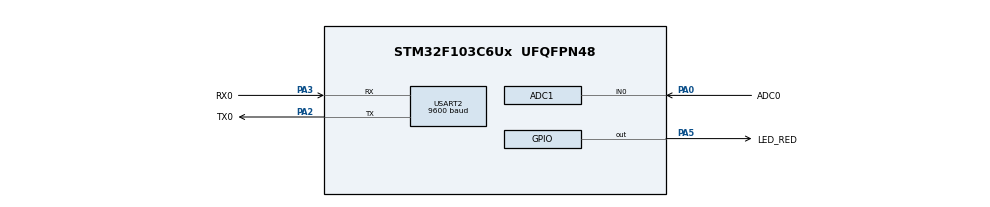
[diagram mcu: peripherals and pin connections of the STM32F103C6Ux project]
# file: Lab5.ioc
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ADC1.Channel-0\#ChannelRegularConversion=ADC_CHANNEL_0
ADC1.ContinuousConvMode=ENABLE
ADC1.NbrOfConversionFlag=1
ADC1.Rank-0\#ChannelRegularConversion=1
ADC1.SamplingTime-0\#ChannelRegularConversion=ADC_SAMPLETIME_1CYCLE_5
ADC1.master=1
Mcu.Family=STM32F1
Mcu.Name=STM32F103C6Ux
Mcu.Package=UFQFPN48
NVIC.PriorityGroup=NVIC_PRIORITYGROUP_4
NVIC.TIM2_IRQn=true\:0\:0\:false\:false\:true\:true\:true\:true
NVIC.USART2_IRQn=true\:0\:0\:false\:false\:true\:true\:true\:true
PA0-WKUP.GPIO_Label=ADC0
PA0-WKUP.Signal=ADCx_IN0
PA2.GPIO_Label=TX0
PA2.Mode=Asynchronous
PA2.Signal=USART2_TX
PA3.GPIO_Label=RX0
PA3.Mode=Asynchronous
PA3.Signal=USART2_RX
PA5.GPIO_Label=LED_RED
PA5.Signal=GPIO_Output
ProjectManager.HeapSize=0x200
ProjectManager.StackSize=0x400
ProjectManager.TargetToolchain=STM32CubeIDE
RCC.APB1Freq_Value=8000000
RCC.APB2Freq_Value=8000000
SH.ADCx_IN0.0=ADC1_IN0,IN0
TIM2.Period=9
TIM2.Prescaler=7999
USART2.BaudRate=9600
USART2.VirtualMode=VM_ASYNC
VP_TIM2_VS_ClockSourceINT.Mode=Internal
board=custom

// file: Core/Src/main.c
/* USER CODE BEGIN Header */
/**
  ******************************************************************************
  * @file           : main.c
  * @brief          : Main program body
  ******************************************************************************
  * @attention
  *
  * <h2><center>&copy; Copyright (c) 2023 STMicroelectronics.
  * All rights reserved.</center></h2>
  *
  * This software component is licensed by ST under BSD 3-Clause license,
  * the "License"; You may not use this file except in compliance with the
  * License. You may obtain a copy of the License at:
  *                        opensource.org/licenses/BSD-3-Clause
  *
  ******************************************************************************
  */
/* USER CODE END Header */
#include "global.h"

ADC_HandleTypeDef hadc1;

TIM_HandleTypeDef htim2;

UART_HandleTypeDef huart2;

void SystemClock_Config(void);
static void MX_GPIO_Init(void);
static void MX_ADC1_Init(void);
static void MX_USART2_UART_Init(void);
static void MX_TIM2_Init(void);
/* USER CODE BEGIN PFP */
void HAL_UART_RxCpltCallback(UART_HandleTypeDef *huart);
/* USER CODE END PFP */

/* USER CODE BEGIN 0 */
//# define MAX_BUFFER_SIZE 30
//uint8_t temp = 0;
//uint8_t buffer [ MAX_BUFFER_SIZE ];
//uint8_t index_buffer = 0;
//uint8_t buffer_flag = 0;
//uint8_t command_flag = 0;

/* USER CODE END 0 */

int main(void)
{

  /* MCU Configuration--------------------------------------------------------*/

  /* Reset of all peripherals, Initializes the Flash interface and the Systick. */
  HAL_Init();

  /* Configure the system clock */
  SystemClock_Config();

  /* Initialize all configured peripherals */
  MX_GPIO_Init();
  MX_ADC1_Init();
  MX_USART2_UART_Init();
  MX_TIM2_Init();
  /* USER CODE BEGIN 2 */
  HAL_TIM_Base_Start_IT(&htim2);
  HAL_ADC_Start(&hadc1);
  HAL_UART_Receive_IT(&huart2, &temp, 1);
  /* USER CODE END 2 */

  /* Infinite loop */
  /* USER CODE BEGIN WHILE */
	setTimer1(1000);
	setTimer2(1000);
  while (1)
  {
      if(timer2_flag==1){
	  setTimer2(1000);
	  HAL_GPIO_TogglePin(LED_RED_GPIO_Port, LED_RED_Pin);
      }
      if (buffer_flag == 1) {
          command_parser_fsm();
          buffer_flag = 0;
      }
      uart_communication_fsm();
    /* USER CODE END WHILE */

  }
}

void SystemClock_Config(void)
{
  RCC_OscInitTypeDef RCC_OscInitStruct = {0};
  RCC_ClkInitTypeDef RCC_ClkInitStruct = {0};
  RCC_PeriphCLKInitTypeDef PeriphClkInit = {0};

  /** Initializes the RCC Oscillators according to the specified parameters
  * in the RCC_OscInitTypeDef structure.
  */
  RCC_OscInitStruct.OscillatorType = RCC_OSCILLATORTYPE_HSI;
  RCC_OscInitStruct.HSIState = RCC_HSI_ON;
  RCC_OscInitStruct.HSICalibrationValue = RCC_HSICALIBRATION_DEFAULT;
  RCC_OscInitStruct.PLL.PLLState = RCC_PLL_NONE;
  if (HAL_RCC_OscConfig(&RCC_OscInitStruct) != HAL_OK)
  {
    Error_Handler();
  }
  /** Initializes the CPU, AHB and APB buses clocks
  */
  RCC_ClkInitStruct.ClockType = RCC_CLOCKTYPE_HCLK|RCC_CLOCKTYPE_SYSCLK
                              |RCC_CLOCKTYPE_PCLK1|RCC_CLOCKTYPE_PCLK2;
  RCC_ClkInitStruct.SYSCLKSource = RCC_SYSCLKSOURCE_HSI;
  RCC_ClkInitStruct.AHBCLKDivider = RCC_SYSCLK_DIV1;
  RCC_ClkInitStruct.APB1CLKDivider = RCC_HCLK_DIV1;
  RCC_ClkInitStruct.APB2CLKDivider = RCC_HCLK_DIV1;

  if (HAL_RCC_ClockConfig(&RCC_ClkInitStruct, FLASH_LATENCY_0) != HAL_OK)
  {
    Error_Handler();
  }
  PeriphClkInit.PeriphClockSelection = RCC_PERIPHCLK_ADC;
  PeriphClkInit.AdcClockSelection = RCC_ADCPCLK2_DIV2;
  if (HAL_RCCEx_PeriphCLKConfig(&PeriphClkInit) != HAL_OK)
  {
    Error_Handler();
  }
}

static void MX_ADC1_Init(void)
{

  ADC_ChannelConfTypeDef sConfig = {0};

  /** Common config
  */
  hadc1.Instance = ADC1;
  hadc1.Init.ScanConvMode = ADC_SCAN_DISABLE;
  hadc1.Init.ContinuousConvMode = ENABLE;
  hadc1.Init.DiscontinuousConvMode = DISABLE;
  hadc1.Init.ExternalTrigConv = ADC_SOFTWARE_START;
  hadc1.Init.DataAlign = ADC_DATAALIGN_RIGHT;
  hadc1.Init.NbrOfConversion = 1;
  if (HAL_ADC_Init(&hadc1) != HAL_OK)
  {
    Error_Handler();
  }
  /** Configure Regular Channel
  */
  sConfig.Channel = ADC_CHANNEL_0;
  sConfig.Rank = ADC_REGULAR_RANK_1;
  sConfig.SamplingTime = ADC_SAMPLETIME_1CYCLE_5;
  if (HAL_ADC_ConfigChannel(&hadc1, &sConfig) != HAL_OK)
  {
    Error_Handler();
  }

}

static void MX_TIM2_Init(void)
{

  TIM_ClockConfigTypeDef sClockSourceConfig = {0};
  TIM_MasterConfigTypeDef sMasterConfig = {0};

  htim2.Instance = TIM2;
  htim2.Init.Prescaler = 0;
  htim2.Init.CounterMode = TIM_COUNTERMODE_UP;
  htim2.Init.Period = 65535;
  htim2.Init.ClockDivision = TIM_CLOCKDIVISION_DIV1;
  htim2.Init.AutoReloadPreload = TIM_AUTORELOAD_PRELOAD_DISABLE;
  if (HAL_TIM_Base_Init(&htim2) != HAL_OK)
  {
    Error_Handler();
  }
  sClockSourceConfig.ClockSource = TIM_CLOCKSOURCE_INTERNAL;
  if (HAL_TIM_ConfigClockSource(&htim2, &sClockSourceConfig) != HAL_OK)
  {
    Error_Handler();
  }
  sMasterConfig.MasterOutputTrigger = TIM_TRGO_RESET;
  sMasterConfig.MasterSlaveMode = TIM_MASTERSLAVEMODE_DISABLE;
  if (HAL_TIMEx_MasterConfigSynchronization(&htim2, &sMasterConfig) != HAL_OK)
  {
    Error_Handler();
  }

}

static void MX_USART2_UART_Init(void)
{

  huart2.Instance = USART2;
  huart2.Init.BaudRate = 9600;
  huart2.Init.WordLength = UART_WORDLENGTH_8B;
  huart2.Init.StopBits = UART_STOPBITS_1;
  huart2.Init.Parity = UART_PARITY_NONE;
  huart2.Init.Mode = UART_MODE_TX_RX;
  huart2.Init.HwFlowCtl = UART_HWCONTROL_NONE;
  huart2.Init.OverSampling = UART_OVERSAMPLING_16;
  if (HAL_UART_Init(&huart2) != HAL_OK)
  {
    Error_Handler();
  }

}

static void MX_GPIO_Init(void)
{
  GPIO_InitTypeDef GPIO_InitStruct = {0};

  /* GPIO Ports Clock Enable */
  __HAL_RCC_GPIOA_CLK_ENABLE();

  /*Configure GPIO pin Output Level */
  HAL_GPIO_WritePin(LED_RED_GPIO_Port, LED_RED_Pin, GPIO_PIN_RESET);

  /*Configure GPIO pin : LED_RED_Pin */
  GPIO_InitStruct.Pin = LED_RED_Pin;
  GPIO_InitStruct.Mode = GPIO_MODE_OUTPUT_PP;
  GPIO_InitStruct.Pull = GPIO_NOPULL;
  GPIO_InitStruct.Speed = GPIO_SPEED_FREQ_LOW;
  HAL_GPIO_Init(LED_RED_GPIO_Port, &GPIO_InitStruct);

}

/* USER CODE BEGIN 4 */
void HAL_TIM_PeriodElapsedCallback ( TIM_HandleTypeDef * htim ){
	timerRun();
}

void HAL_UART_RxCpltCallback(UART_HandleTypeDef *huart){
	if(huart->Instance == USART2){
		buffer[ index_buffer++] = temp ;
		if( index_buffer == 30) index_buffer = 0;
		buffer_flag = 1;
		HAL_UART_Receive_IT(&huart2, &temp, 1);
	}
}
/* USER CODE END 4 */

void Error_Handler(void)
{
  __disable_irq();
  while (1)
  {
  }
}

/************************ (C) COPYRIGHT STMicroelectronics *****END OF FILE****/
